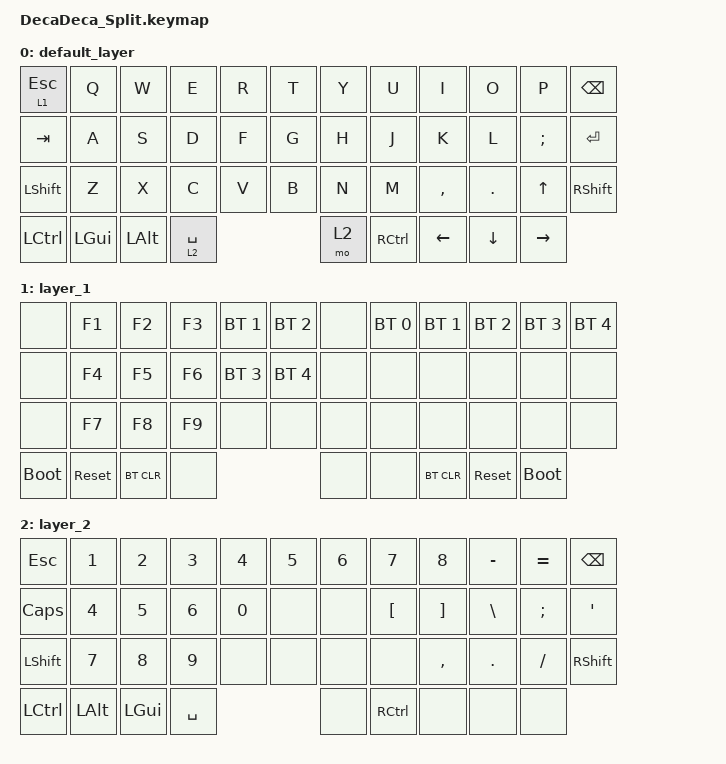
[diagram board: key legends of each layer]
#include <dt-bindings/zmk/mouse.h>
#include <behaviors.dtsi>
#include <dt-bindings/zmk/bt.h>
#include <dt-bindings/zmk/keys.h>

/ {
    keymap {
        compatible = "zmk,keymap";

        default_layer {
            bindings = <
&lt 1 ESCAPE  &kp Q     &kp W     &kp E        &kp R  &kp T  &kp Y  &kp U              &kp I           &kp O       &kp P          &kp BACKSPACE
&kp TAB       &kp A     &kp S     &kp D        &kp F  &kp G  &kp H  &kp J              &kp K           &kp L       &kp SEMICOLON  &kp ENTER
&kp LSHFT     &kp Z     &kp X     &kp C        &kp V  &kp B  &kp N  &kp M              &kp COMMA       &kp PERIOD  &kp UP_ARROW   &kp RSHIFT
&kp LCTRL     &kp LGUI  &kp LALT  &lt 2 SPACE                &mo 2  &kp RIGHT_CONTROL  &kp LEFT_ARROW  &kp DOWN    &kp RIGHT
            >;
        };

        layer_1 {
            bindings = <
&none        &kp F1      &kp F2      &kp F3  &bt BT_SEL 1  &bt BT_SEL 2  &none  &bt BT_SEL 0  &bt BT_SEL 1  &bt BT_SEL 2  &bt BT_SEL 3  &bt BT_SEL 4
&none        &kp F4      &kp F5      &kp F6  &bt BT_SEL 3  &bt BT_SEL 4  &none  &none         &none         &none         &none         &none
&none        &kp F7      &kp F8      &kp F9  &none         &none         &none  &none         &none         &none         &none         &none
&bootloader  &sys_reset  &bt BT_CLR  &none                               &none  &none         &bt BT_CLR    &sys_reset    &bootloader
            >;
        };

        layer_2 {
            bindings = <
&kp ESC    &kp N1    &kp N2    &kp N3     &kp N4  &kp N5  &kp N6  &kp N7             &kp N8     &kp MINUS  &kp EQUAL  &kp BSPC
&kp CAPS   &kp N4    &kp N5    &kp N6     &kp N0  &none   &none   &kp LBKT           &kp RBKT   &kp BSLH   &kp SEMI   &kp APOS
&kp LSHFT  &kp N7    &kp N8    &kp N9     &none   &none   &none   &none              &kp COMMA  &kp DOT    &kp FSLH   &kp RSHFT
&kp LCTRL  &kp LALT  &kp LGUI  &kp SPACE                  &none   &kp RIGHT_CONTROL  &none      &none      &none
            >;
        };
    };
};
